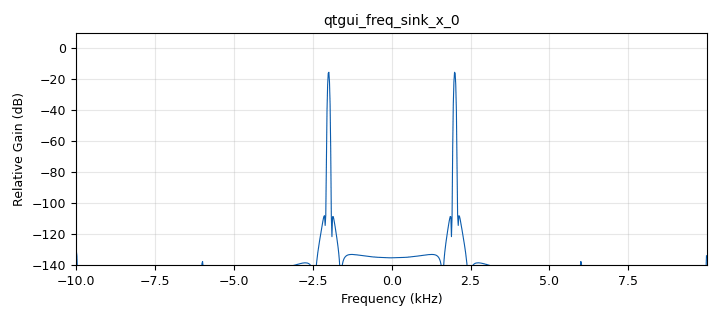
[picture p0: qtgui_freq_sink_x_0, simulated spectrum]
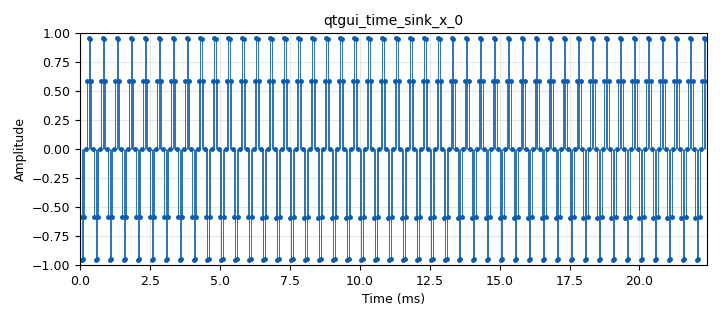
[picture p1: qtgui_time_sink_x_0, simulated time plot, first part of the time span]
options:
  parameters:
    author: Carlos_Alvarez_Jhonael_Fonseca_E1B_G3)
    generate_options: qt_gui
    id: Lab_comu_1
    output_language: python
    title: Primer flujograma
  states: {}

blocks:
- name: frequency
  id: variable
  parameters:
    value: '2000'
  states: {state: disabled}
- name: frequency
  id: variable_qtgui_range
  parameters:
    start: '1000'
    step: '1000'
    stop: '40000'
    value: '2000'
  states: {}
- name: samp_rate
  id: variable_qtgui_range
  parameters:
    label: frecuencia_de_muestreo
    start: '1000'
    step: '1000'
    stop: '80000'
    value: '20000'
  states: {}
- name: samp_rate
  id: variable
  parameters:
    value: '32000'
  states: {state: disabled}
- name: analog_sig_source_x_0
  id: analog_sig_source_x
  parameters:
    amp: '1'
    freq: frequency
    offset: '0'
    phase: '0'
    samp_rate: samp_rate
    type: float
    waveform: analog.GR_SIN_WAVE
  states: {}
- name: blocks_throttle_0
  id: blocks_throttle
  parameters:
    samples_per_second: samp_rate
    type: float
  states: {}
- name: qtgui_freq_sink_x_0
  id: qtgui_freq_sink_x
  parameters:
    bw: samp_rate
    fc: '0'
    fftsize: '1024'
    type: float
  states: {}
- name: qtgui_time_sink_x_0
  id: qtgui_time_sink_x
  parameters:
    size: '1024'
    srate: samp_rate
    stemplot: 'True'
    type: float
  states: {}

connections:
- [analog_sig_source_x_0, '0', blocks_throttle_0, '0']
- [blocks_throttle_0, '0', qtgui_freq_sink_x_0, '0']
- [blocks_throttle_0, '0', qtgui_time_sink_x_0, '0']

metadata:
  file_format: 1
  grc_version: 3.9.8.0
